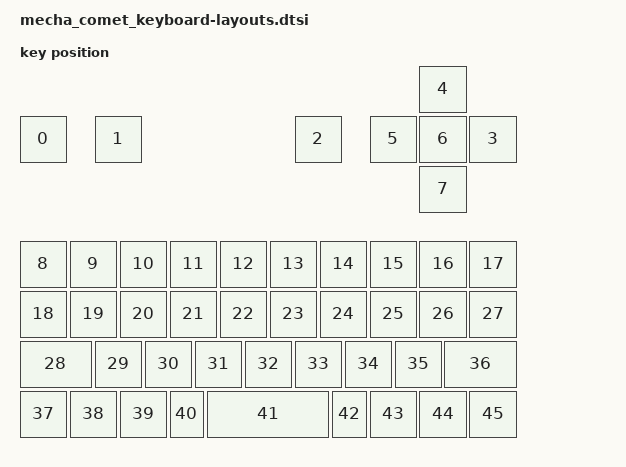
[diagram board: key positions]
/*
 * Copyright (c) 2026 Mecha Systems
 *
 * SPDX-License-Identifier: BSD-3-Clause
 */

/*
 * The 46 keys, in the order of the matrix transform: x and y are in 1/100 of a
 * key. The same layout is in config/info.json and physical-layout/.
 */

#include <physical_layouts.dtsi>

/ {
    layout0: physical_layout0 {
        compatible = "zmk,physical-layout";
        display-name = "Default";

        /* Positions 0 to 7, row 4 of the matrix: the dome switches and the joystick. */
        keys = <&key_physical_attrs 100 100 0 100 0 0 0>,  /* RC(4,0) - Dome 1 */
               <&key_physical_attrs 100 100 150 100 0 0 0>,  /* RC(4,1) - Dome 2 */
               <&key_physical_attrs 100 100 550 100 0 0 0>,  /* RC(4,2) - Dome 3 */
               <&key_physical_attrs 100 100 900 100 0 0 0>,  /* RC(4,4) - Joystick Pin 6 */
               <&key_physical_attrs 100 100 800 0 0 0 0>,  /* RC(4,5) - Joystick Pin 4 */
               <&key_physical_attrs 100 100 700 100 0 0 0>,  /* RC(4,6) - Joystick Pin 1 */
               <&key_physical_attrs 100 100 800 100 0 0 0>,  /* RC(4,7) - Joystick Pin 2 */
               <&key_physical_attrs 100 100 800 200 0 0 0>,  /* RC(4,8) - Joystick Pin 3 */

               /* Positions 8 to 45, rows 0 to 3 of the matrix. */
               <&key_physical_attrs 100 100 0 350 0 0 0>,
               <&key_physical_attrs 100 100 100 350 0 0 0>,
               <&key_physical_attrs 100 100 200 350 0 0 0>,
               <&key_physical_attrs 100 100 300 350 0 0 0>,
               <&key_physical_attrs 100 100 400 350 0 0 0>,
               <&key_physical_attrs 100 100 500 350 0 0 0>,
               <&key_physical_attrs 100 100 600 350 0 0 0>,
               <&key_physical_attrs 100 100 700 350 0 0 0>,
               <&key_physical_attrs 100 100 800 350 0 0 0>,
               <&key_physical_attrs 100 100 900 350 0 0 0>,
               <&key_physical_attrs 100 100 0 450 0 0 0>,
               <&key_physical_attrs 100 100 100 450 0 0 0>,
               <&key_physical_attrs 100 100 200 450 0 0 0>,
               <&key_physical_attrs 100 100 300 450 0 0 0>,
               <&key_physical_attrs 100 100 400 450 0 0 0>,
               <&key_physical_attrs 100 100 500 450 0 0 0>,
               <&key_physical_attrs 100 100 600 450 0 0 0>,
               <&key_physical_attrs 100 100 700 450 0 0 0>,
               <&key_physical_attrs 100 100 800 450 0 0 0>,
               <&key_physical_attrs 100 100 900 450 0 0 0>,
               <&key_physical_attrs 150 100 0 550 0 0 0>,
               <&key_physical_attrs 100 100 150 550 0 0 0>,
               <&key_physical_attrs 100 100 250 550 0 0 0>,
               <&key_physical_attrs 100 100 350 550 0 0 0>,
               <&key_physical_attrs 100 100 450 550 0 0 0>,
               <&key_physical_attrs 100 100 550 550 0 0 0>,
               <&key_physical_attrs 100 100 650 550 0 0 0>,
               <&key_physical_attrs 100 100 750 550 0 0 0>,
               <&key_physical_attrs 150 100 850 550 0 0 0>,
               <&key_physical_attrs 100 100 0 650 0 0 0>,
               <&key_physical_attrs 100 100 100 650 0 0 0>,
               <&key_physical_attrs 100 100 200 650 0 0 0>,
               <&key_physical_attrs 75 100 300 650 0 0 0>,
               <&key_physical_attrs 250 100 375 650 0 0 0>,
               <&key_physical_attrs 75 100 625 650 0 0 0>,
               <&key_physical_attrs 100 100 700 650 0 0 0>,
               <&key_physical_attrs 100 100 800 650 0 0 0>,
               <&key_physical_attrs 100 100 900 650 0 0 0>;
    };
};
